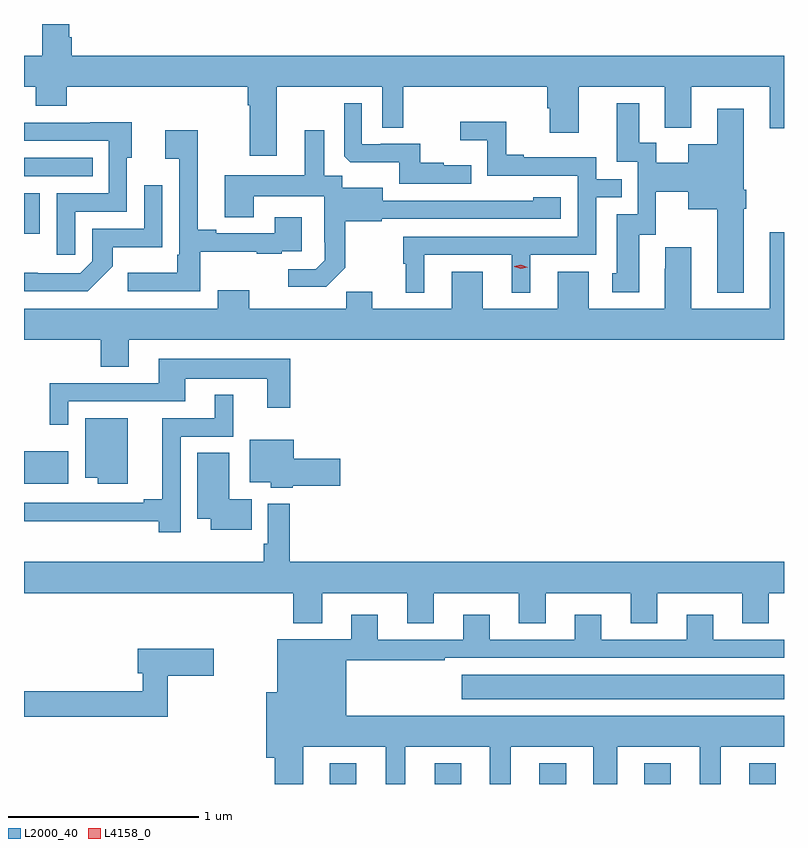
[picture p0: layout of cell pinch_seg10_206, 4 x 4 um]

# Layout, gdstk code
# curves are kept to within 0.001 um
import gdstk
lib = gdstk.Library(unit=1e-6, precision=1e-09)
def R(c, l, rs):  # rectangles x0, y0, x1, y1
    for r in rs: c.add(gdstk.rectangle(r[:2], r[2:], *l))
def A(c, l, x, y, w, h, nx, ny, dx, dy):  # array of equal rectangles
    R(c, l, [(x+i*dx, y+j*dy, x+i*dx+w, y+j*dy+h) for i in range(nx) for j in range(ny)])
def P(c, l, *ps):  # polygons
    for p in ps: c.add(gdstk.Polygon(p, *l))
L2000_40 = (2000, 40)
L4158_0 = (4158, 0)

pinch_seg10_206 = lib.new_cell('pinch_seg10_206')
A(pinch_seg10_206, L2000_40, 841.001, 1271.339, 0.14, 0.11, 5, 1, 0.552, 0)
R(pinch_seg10_206, L2000_40, [(841.695,1271.786,843.392,1271.914), (839.392,1272.92,839.626,1273.09), (839.392,1274.234,839.476,1274.449), (839.392,1274.538,839.753,1274.634)])
P(pinch_seg10_206, L2000_40, [(839.642,1275.268),(839.629,1275.268),(839.629,1275.339),(839.489,1275.339),(839.489,1275.172),(839.392,1275.172),(839.392,1275.008),(839.453,1275.008),(839.453,1274.909),(839.617,1274.909),(839.617,1275.008),(840.569,1275.008),(840.569,1274.912),(840.581,1274.912),(840.581,1274.646),(840.721,1274.646),(840.721,1275.008),(841.278,1275.008),(841.278,1274.794),(841.387,1274.794),(841.387,1275.008),(842.147,1275.008),(842.147,1274.895),(842.159,1274.895),(842.159,1274.766),(842.311,1274.766),(842.311,1275.008),(842.765,1275.008),(842.765,1274.792),(842.905,1274.792),(842.905,1275.008),(843.317,1275.008),(843.317,1274.79),(843.392,1274.79),(843.392,1275.172),(839.642,1275.172)],
  [(841.745,1274.596),(841.601,1274.596),(841.601,1274.608),(841.478,1274.608),(841.478,1274.709),(841.27,1274.709),(841.27,1274.706),(841.17,1274.706),(841.17,1274.923),(841.077,1274.923),(841.077,1274.643),(841.109,1274.612),(841.368,1274.612),(841.368,1274.499),(841.745,1274.499)],
  [(843.181,1274.367),(843.194,1274.367),(843.194,1274.467),(843.181,1274.467),(843.181,1274.893),(843.041,1274.893),(843.041,1274.707),(842.888,1274.707),(842.888,1274.608),(842.719,1274.608),(842.719,1274.714),(842.629,1274.714),(842.629,1274.923),(842.513,1274.923),(842.513,1274.613),(842.622,1274.613),(842.622,1274.337),(842.513,1274.337),(842.513,1274.028),(842.489,1274.028),(842.489,1273.926),(842.629,1273.926),(842.629,1274.229),(842.718,1274.229),(842.718,1274.456),(842.888,1274.456),(842.888,1274.363),(843.041,1274.363),(843.041,1273.925),(843.181,1273.925)],
  [(841.498,1274.124),(841.958,1274.124),(841.958,1273.925),(842.056,1273.925),(842.056,1274.124),(842.403,1274.124),(842.403,1274.427),(842.537,1274.427),(842.537,1274.523),(842.403,1274.523),(842.403,1274.637),(842.023,1274.637),(842.023,1274.65),(841.929,1274.65),(841.929,1274.825),(841.689,1274.825),(841.689,1274.726),(841.83,1274.726),(841.83,1274.541),(842.307,1274.541),(842.307,1274.22),(841.389,1274.22),(841.389,1274.076),(841.4,1274.076),(841.4,1273.925),(841.498,1273.925)],
  [(839.661,1274.352),(839.934,1274.352),(839.934,1274.634),(839.959,1274.634),(839.959,1274.822),(839.741,1274.822),(839.741,1274.82),(839.392,1274.82),(839.392,1274.724),(839.838,1274.724),(839.838,1274.448),(839.565,1274.448),(839.565,1274.124),(839.661,1274.124)],
  [(840.319,1274.141),(840.617,1274.141),(840.617,1274.13),(840.749,1274.13),(840.749,1274.142),(840.853,1274.142),(840.853,1274.323),(840.713,1274.323),(840.713,1274.238),(840.403,1274.238),(840.403,1274.257),(840.307,1274.257),(840.307,1274.779),(840.135,1274.779),(840.135,1274.63),(840.21,1274.63),(840.21,1274.125),(840.198,1274.125),(840.198,1274.029),(839.937,1274.029),(839.937,1273.932),(840.319,1273.932)],
  [(841.083,1274.055),(841.083,1274.301),(841.275,1274.301),(841.275,1274.313),(842.218,1274.313),(842.218,1274.428),(842.073,1274.428),(842.073,1274.41),(841.279,1274.409),(841.279,1274.476),(841.068,1274.476),(841.068,1274.54),(840.973,1274.54),(840.973,1274.779),(840.869,1274.779),(840.869,1274.542),(840.449,1274.542),(840.449,1274.323),(840.601,1274.323),(840.601,1274.432),(840.972,1274.432),(840.972,1274.191),(840.974,1274.191),(840.974,1274.096),(840.927,1274.049),(840.783,1274.049),(840.783,1273.955),(840.983,1273.955)],
  [(839.859,1274.063),(839.859,1274.165),(840.12,1274.165),(840.12,1274.491),(840.024,1274.491),(840.024,1274.262),(839.751,1274.262),(839.751,1274.091),(839.688,1274.028),(839.464,1274.028),(839.464,1274.03),(839.392,1274.03),(839.392,1273.932),(839.728,1273.932)],
  [(839.944,1273.676),(843.392,1273.676),(843.392,1274.242),(843.317,1274.242),(843.317,1273.84),(842.905,1273.84),(842.905,1274.164),(842.766,1274.164),(842.766,1274.051),(842.765,1274.051),(842.765,1273.84),(842.365,1273.84),(842.365,1274.035),(842.201,1274.035),(842.201,1273.84),(841.807,1273.84),(841.807,1274.035),(841.643,1274.035),(841.643,1273.84),(841.225,1273.84),(841.225,1273.931),(841.087,1273.931),(841.087,1273.84),(840.577,1273.84),(840.577,1273.939),(840.413,1273.939),(840.413,1273.84),(839.392,1273.84),(839.392,1273.676),(839.797,1273.676),(839.797,1273.534),(839.944,1273.534)],
  [(839.625,1273.353),(840.241,1273.353),(840.241,1273.472),(840.671,1273.472),(840.671,1273.32),(840.793,1273.32),(840.793,1273.576),(840.101,1273.576),(840.101,1273.449),(839.528,1273.449),(839.528,1273.23),(839.625,1273.23)],
  [(840.216,1273.167),(840.493,1273.167),(840.493,1273.387),(840.395,1273.387),(840.395,1273.263),(840.119,1273.263),(840.119,1272.839),(840.023,1272.839),(840.023,1272.819),(839.392,1272.819),(839.392,1272.723),(839.47,1272.723),(839.47,1272.722),(840.1,1272.722),(840.1,1272.663),(840.216,1272.663)],
  [(839.938,1273.264),(839.714,1273.264),(839.714,1272.95),(839.78,1272.95),(839.78,1272.92),(839.938,1272.92)],
  [(840.807,1272.91),(841.057,1272.91),(841.057,1273.052),(840.811,1273.052),(840.811,1273.15),(840.581,1273.15),(840.581,1272.926),(840.69,1272.926),(840.69,1272.899),(840.807,1272.899)],
  [(840.59,1272.838),(840.472,1272.838),(840.472,1273.082),(840.305,1273.082),(840.305,1272.734),(840.374,1272.734),(840.374,1272.677),(840.59,1272.677)],
  [(841.549,1272.344),(841.997,1272.344),(841.997,1272.184),(842.137,1272.184),(842.137,1272.344),(842.585,1272.344),(842.585,1272.184),(842.725,1272.184),(842.725,1272.344),(843.173,1272.344),(843.173,1272.184),(843.313,1272.184),(843.313,1272.344),(843.392,1272.344),(843.392,1272.508),(840.791,1272.508),(840.791,1272.814),(840.675,1272.814),(840.675,1272.604),(840.655,1272.604),(840.655,1272.508),(839.392,1272.508),(839.392,1272.344),(840.809,1272.344),(840.809,1272.185),(840.961,1272.185),(840.961,1272.344),(841.409,1272.344),(841.409,1272.184),(841.549,1272.184)],
  [(840.862,1271.534),(841.295,1271.534),(841.295,1271.339),(841.399,1271.339),(841.399,1271.534),(841.844,1271.534),(841.844,1271.339),(841.954,1271.339),(841.954,1271.534),(842.387,1271.534),(842.387,1271.339),(842.515,1271.339),(842.515,1271.534),(842.948,1271.534),(842.948,1271.339),(843.058,1271.339),(843.058,1271.534),(843.392,1271.534),(843.392,1271.698),(841.087,1271.698),(841.087,1271.991),(841.607,1271.991),(841.607,1272.003),(843.392,1272.003),(843.392,1272.099),(843.019,1272.099),(843.019,1272.229),(842.879,1272.229),(842.879,1272.099),(842.431,1272.099),(842.431,1272.229),(842.291,1272.229),(842.291,1272.099),(841.843,1272.099),(841.843,1272.229),(841.703,1272.229),(841.703,1272.099),(841.255,1272.099),(841.255,1272.229),(841.115,1272.229),(841.115,1272.1),(840.725,1272.1),(840.725,1271.821),(840.668,1271.821),(840.668,1271.477),(840.713,1271.477),(840.713,1271.339),(840.862,1271.339)],
  [(840.149,1271.909),(840.391,1271.909),(840.391,1272.051),(839.99,1272.051),(839.99,1271.921),(840.017,1271.921),(840.017,1271.828),(839.392,1271.828),(839.392,1271.692),(840.149,1271.692)])
P(pinch_seg10_206, L4158_0, [(842.007,1274.051),(841.972,1274.062),(841.971,1274.062),(841.972,1274.063),(842.007,1274.071),(842.042,1274.06),(842.043,1274.06),(842.042,1274.06)])

lib.write_gds('pinch_seg10_206.gds')
